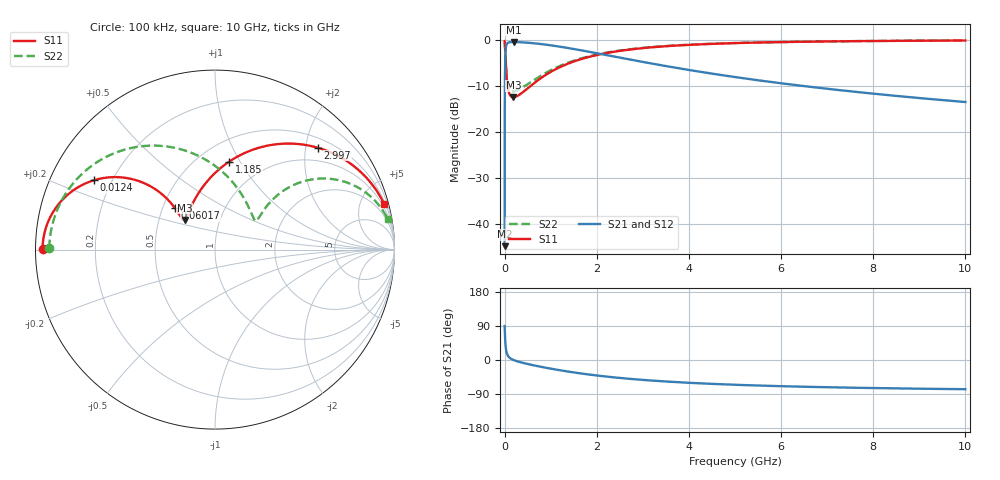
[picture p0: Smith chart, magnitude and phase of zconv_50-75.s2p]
! 2-Port simulation of a in impedance converter from 50 Ohm to 75 Ohm (S-parameters are all normalized to 50 Ohm)
! Port 1: 50 Ohm side
! Port 2: 75 Ohm side
[Version] 2.0
# HZ S RI R 50
[Number of Ports] 2
[Reference] 50 75
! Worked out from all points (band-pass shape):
!   708 points, 100 kHz to 10 GHz, reference per port
!   highest |S21| = -0.55 dB at 194.3 MHz (marker M1); lowest = -44.9 dB at 100 kHz (marker M2)
!   |S21| within 3 dB of the highest: 16.35 MHz to 2.3 GHz (2.284 GHz wide, 197 % of centre)
!   lowest |S11| = -12.6 dB at 191.2 MHz (marker M3), VSWR 1.62
!   |S11| at or under -10 dB: 62.91 MHz to 571.7 MHz (508.8 MHz wide, 160 % of centre)
!   |S22| runs from -11.2 to -0.2 dB; largest |S21 - S12| = 1e-12
!   S11 on the Smith chart (normalised r, x): 100 kHz: 0.02, +0.00; 12.4 MHz: 0.13, +0.26; 60.17 MHz: 0.58, +0.30; 1.185 GHz: 0.69, +0.90; 2.997 GHz: 0.69, +2.25; 10 GHz: 0.69, +7.49
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[Number of Frequencies] 22
[Network Data]
100000  -0.9608 0.00483  3.48e-05 0.00572  3.48e-05 0.00572  -0.923 0.00697
683143.6  -0.9594 0.0329  0.00162 0.039  0.00162 0.039  -0.9211 0.0475
1968797  -0.9497 0.0938  0.0133 0.111  0.0133 0.111  -0.907 0.1353
4666852  -0.9025 0.209  0.0702 0.247  0.0702 0.247  -0.8385 0.3015
7731438  -0.819 0.3073  0.1708 0.3621  0.1708 0.3621  -0.7173 0.4428
1.239802e7  -0.6764 0.3859  0.3426 0.4519  0.3426 0.4519  -0.5103 0.5549
1.92442e7  -0.506 0.4008  0.5477 0.4628  0.5477 0.4628  -0.2631 0.5738
3.18813e7  -0.3376 0.3397  0.7503 0.3761  0.7503 0.3761  -0.0188 0.48
6.016575e7  -0.2248 0.2331  0.885 0.2183  0.885 0.2183  0.1444 0.3139
1.0813e8  -0.1855 0.1737  0.9286 0.0972  0.9286 0.0972  0.2 0.2084
1.911926e8  -0.1677 0.1656  0.9388 0.00225  0.9388 0.00225  0.2214 0.1633
1.943315e8  -0.1673 0.1661  0.9388 -0.000343  0.9388 -0.000343  0.2218 0.1628
2.177951e8  -0.1639 0.1708  0.9384 -0.0185  0.9384 -0.0185  0.225 0.1603
3.608148e8  -0.143 0.2173  0.9272 -0.1039  0.9272 -0.1039  0.2411 0.1726
5.977513e8  -0.095 0.3097  0.8902 -0.208  0.8902 -0.208  0.2738 0.2225
8.552784e8  -0.0252 0.4009  0.8341 -0.2956  0.8341 -0.2956  0.3202 0.2778
1.184541e9  0.0797 0.4906  0.7489 -0.3771  0.7489 -0.3771  0.3899 0.3339
1.487853e9  0.1808 0.545  0.6667 -0.4259  0.6667 -0.4259  0.457 0.3681
2.12886e9  0.3766 0.5899  0.5074 -0.4679  0.5074 -0.4679  0.5868 0.3958
2.996829e9  0.5727 0.5677  0.3478 -0.4534  0.3478 -0.4534  0.7168 0.3797
5.298912e9  0.8182 0.4264  0.148 -0.3421  0.148 -0.3421  0.8795 0.2845
1e10  0.9425 0.2542  0.0468 -0.2043  0.0468 -0.2043  0.9619 0.1695
[End]
